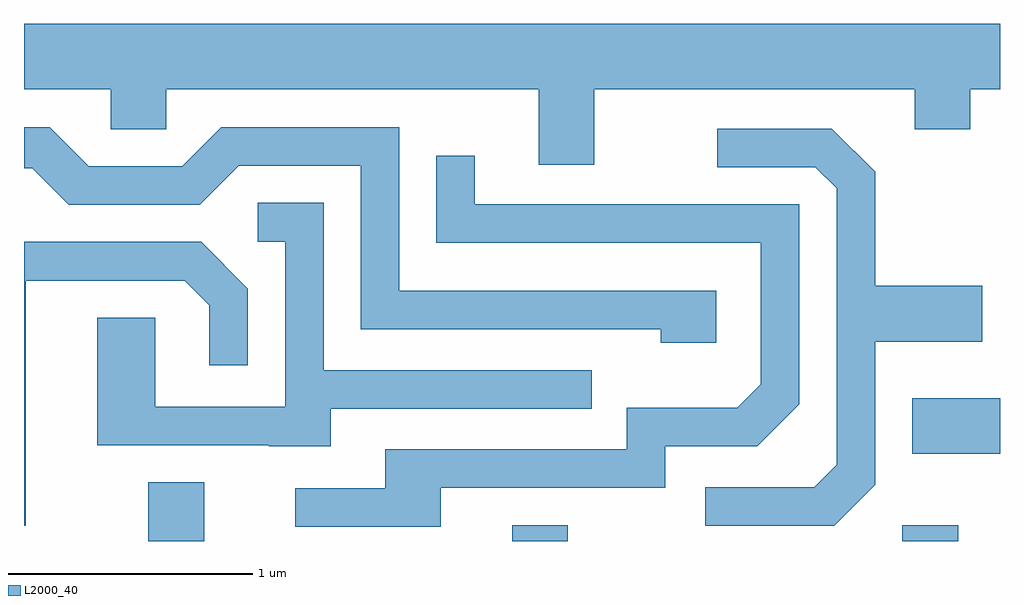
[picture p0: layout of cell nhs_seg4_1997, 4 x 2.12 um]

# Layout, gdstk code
import gdstk
lib = gdstk.Library(unit=1e-6, precision=1e-09)
def R(c, l, rs):  # rectangles x0, y0, x1, y1
    for r in rs: c.add(gdstk.rectangle(r[:2], r[2:], *l))
def P(c, l, *ps):  # polygons
    for p in ps: c.add(gdstk.Polygon(p, *l))
L2000_40 = (2000, 40)

nhs_seg4_1997 = lib.new_cell('nhs_seg4_1997')
R(nhs_seg4_1997, L2000_40, [(244.121,1303.982,244.349,1304.224), (245.611,1303.982,245.839,1304.049), (247.211,1303.982,247.439,1304.049), (247.251,1304.341,247.611,1304.569)])
P(nhs_seg4_1997, L2000_40, [(245.949,1305.836),(247.261,1305.836),(247.261,1305.671),(247.489,1305.671),(247.489,1305.836),(247.611,1305.836),(247.611,1306.104),(243.611,1306.104),(243.611,1305.836),(243.966,1305.836),(243.966,1305.671),(244.194,1305.671),(244.194,1305.836),(245.721,1305.836),(245.721,1305.526),(245.949,1305.526)],
  [(246.449,1305.009),(245.149,1305.009),(245.149,1305.679),(244.419,1305.679),(244.259,1305.519),(243.877,1305.519),(243.717,1305.679),(243.611,1305.679),(243.611,1305.511),(243.644,1305.511),(243.794,1305.361),(244.332,1305.361),(244.492,1305.521),(244.991,1305.521),(244.991,1304.851),(246.221,1304.851),(246.221,1304.796),(246.449,1304.796)],
  [(247.099,1304.214),(247.099,1304.801),(247.539,1304.801),(247.539,1305.029),(247.099,1305.029),(247.099,1305.497),(246.922,1305.674),(246.453,1305.674),(246.453,1305.516),(246.854,1305.516),(246.941,1305.429),(246.941,1304.297),(246.849,1304.204),(246.403,1304.204),(246.403,1304.046),(246.932,1304.046)],
  [(245.319,1304.201),(246.239,1304.201),(246.239,1304.371),(246.617,1304.371),(246.789,1304.544),(246.789,1305.364),(245.459,1305.364),(245.459,1305.563),(245.301,1305.563),(245.301,1305.206),(246.631,1305.206),(246.631,1304.627),(246.534,1304.529),(246.081,1304.529),(246.081,1304.359),(245.091,1304.359),(245.091,1304.199),(244.723,1304.199),(244.723,1304.041),(245.319,1304.041)],
  [(244.869,1304.526),(245.938,1304.526),(245.938,1304.684),(244.839,1304.684),(244.839,1305.369),(244.568,1305.369),(244.568,1305.211),(244.681,1305.211),(244.681,1304.534),(244.149,1304.534),(244.149,1304.899),(243.911,1304.899),(243.911,1304.376),(244.615,1304.376),(244.615,1304.371),(244.869,1304.371)],
  [(243.619,1305.051),(244.269,1305.051),(244.371,1304.949),(244.371,1304.703),(244.529,1304.703),(244.529,1305.017),(244.337,1305.209),(243.611,1305.209),(243.611,1304.046),(243.619,1304.046)])

lib.write_gds('nhs_seg4_1997.gds')
